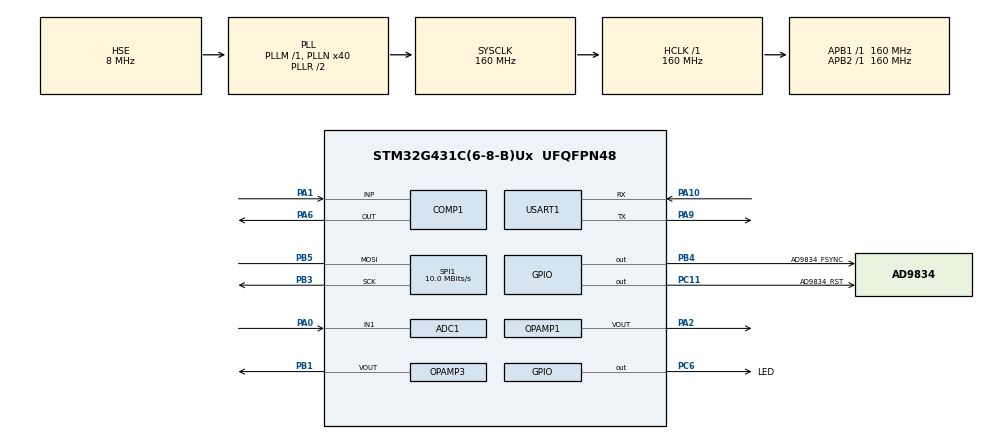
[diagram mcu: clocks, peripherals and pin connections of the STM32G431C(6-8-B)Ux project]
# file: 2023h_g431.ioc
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ADC1.Channel-0\#ChannelRegularConversion=ADC_CHANNEL_1
ADC1.ClockPrescaler=ADC_CLOCK_SYNC_PCLK_DIV4
ADC1.ContinuousConvMode=ENABLE
ADC1.DMAContinuousRequests=DISABLE
ADC1.DataAlign=ADC_DATAALIGN_LEFT
ADC1.ExternalTrigConv=ADC_EXTERNALTRIG_T3_TRGO
ADC1.NbrOfConversion=1
ADC1.NbrOfConversionFlag=1
ADC1.OffsetNumber-0\#ChannelRegularConversion=ADC_OFFSET_NONE
ADC1.OversamplingMode=DISABLE
ADC1.Rank-0\#ChannelRegularConversion=1
ADC1.SamplingTime-0\#ChannelRegularConversion=ADC_SAMPLETIME_6CYCLES_5
ADC1.master=1
COMP1.Hysteresis=COMP_HYSTERESIS_70MV
COMP1.TriggerMode=COMP_TRIGGERMODE_IT_RISING
DAC3.DAC_Channel-DAC_OUT2_Int=DAC_CHANNEL_2
DAC3.DAC_Trigger_OUT1-DAC_OUT1_Int=DAC_TRIGGER_T7_TRGO
DAC3.DAC_Trigger_OUT2-DAC_OUT2_Int=DAC_TRIGGER_T15_TRGO
Dma.ADC1.2.Direction=DMA_PERIPH_TO_MEMORY
Dma.ADC1.2.EventEnable=DISABLE
Dma.ADC1.2.Instance=DMA1_Channel3
Dma.ADC1.2.MemDataAlignment=DMA_MDATAALIGN_HALFWORD
Dma.ADC1.2.MemInc=DMA_MINC_ENABLE
Dma.ADC1.2.Mode=DMA_NORMAL
Dma.ADC1.2.PeriphDataAlignment=DMA_PDATAALIGN_HALFWORD
Dma.ADC1.2.PeriphInc=DMA_PINC_DISABLE
Dma.ADC1.2.Polarity=HAL_DMAMUX_REQ_GEN_RISING
Dma.ADC1.2.Priority=DMA_PRIORITY_HIGH
Dma.ADC1.2.RequestNumber=1
Dma.ADC1.2.SignalID=NONE
Dma.ADC1.2.SyncEnable=DISABLE
Dma.ADC1.2.SyncPolarity=HAL_DMAMUX_SYNC_NO_EVENT
Dma.ADC1.2.SyncRequestNumber=1
Dma.ADC1.2.SyncSignalID=NONE
Dma.DAC3_CH1.0.Direction=DMA_MEMORY_TO_PERIPH
Dma.DAC3_CH1.0.EventEnable=DISABLE
Dma.DAC3_CH1.0.Instance=DMA1_Channel1
Dma.DAC3_CH1.0.MemDataAlignment=DMA_MDATAALIGN_HALFWORD
Dma.DAC3_CH1.0.MemInc=DMA_MINC_ENABLE
Dma.DAC3_CH1.0.Mode=DMA_CIRCULAR
Dma.DAC3_CH1.0.PeriphDataAlignment=DMA_PDATAALIGN_WORD
Dma.DAC3_CH1.0.PeriphInc=DMA_PINC_DISABLE
Dma.DAC3_CH1.0.Polarity=HAL_DMAMUX_REQ_GEN_RISING
Dma.DAC3_CH1.0.Priority=DMA_PRIORITY_LOW
Dma.DAC3_CH1.0.RequestNumber=1
Dma.DAC3_CH1.0.SignalID=NONE
Dma.DAC3_CH1.0.SyncEnable=DISABLE
Dma.DAC3_CH1.0.SyncPolarity=HAL_DMAMUX_SYNC_NO_EVENT
Dma.DAC3_CH1.0.SyncRequestNumber=1
Dma.DAC3_CH1.0.SyncSignalID=NONE
Dma.DAC3_CH2.1.Direction=DMA_MEMORY_TO_PERIPH
Dma.DAC3_CH2.1.EventEnable=DISABLE
Dma.DAC3_CH2.1.Instance=DMA1_Channel2
Dma.DAC3_CH2.1.MemDataAlignment=DMA_MDATAALIGN_HALFWORD
Dma.DAC3_CH2.1.MemInc=DMA_MINC_ENABLE
Dma.DAC3_CH2.1.Mode=DMA_CIRCULAR
Dma.DAC3_CH2.1.PeriphDataAlignment=DMA_PDATAALIGN_WORD
Dma.DAC3_CH2.1.PeriphInc=DMA_PINC_DISABLE
Dma.DAC3_CH2.1.Polarity=HAL_DMAMUX_REQ_GEN_RISING
Dma.DAC3_CH2.1.Priority=DMA_PRIORITY_LOW
Dma.DAC3_CH2.1.RequestNumber=1
Dma.DAC3_CH2.1.SignalID=NONE
Dma.DAC3_CH2.1.SyncEnable=DISABLE
Dma.DAC3_CH2.1.SyncPolarity=HAL_DMAMUX_SYNC_NO_EVENT
Dma.DAC3_CH2.1.SyncRequestNumber=1
Dma.DAC3_CH2.1.SyncSignalID=NONE
Dma.Request0=DAC3_CH1
Dma.Request1=DAC3_CH2
Dma.Request2=ADC1
Mcu.Family=STM32G4
Mcu.Name=STM32G431C(6-8-B)Ux
Mcu.Package=UFQFPN48
NVIC.COMP1_2_3_IRQn=true\:0\:0\:false\:false\:true\:false\:true\:true
NVIC.DMA1_Channel1_IRQn=true\:0\:0\:false\:false\:true\:false\:true\:true
NVIC.DMA1_Channel2_IRQn=true\:0\:0\:false\:false\:true\:false\:true\:true
NVIC.DMA1_Channel3_IRQn=true\:0\:0\:false\:false\:true\:false\:true\:true
NVIC.PriorityGroup=NVIC_PRIORITYGROUP_4
NVIC.USART1_IRQn=true\:0\:0\:false\:false\:true\:false\:true\:true
OPAMP1.PowerMode=OPAMP_POWERMODE_HIGHSPEED
OPAMP3.PowerMode=OPAMP_POWERMODE_HIGHSPEED
PA0.Mode=IN1-Single-Ended
PA0.Signal=ADC1_IN1
PA1.Mode=INP
PA1.Signal=COMP1_INP
PA10.Mode=Asynchronous
PA10.Signal=USART1_RX
PA13.Mode=Serial_Wire
PA13.Signal=SYS_JTMS-SWDIO
PA14.Mode=Serial_Wire
PA14.Signal=SYS_JTCK-SWCLK
PA2.Mode=Follower-DAC_OUT2-INP
PA2.Signal=OPAMP1_VOUT
PA6.Mode=ExternalOutput
PA6.Signal=COMP1_OUT
PA9.Mode=Asynchronous
PA9.Signal=USART1_TX
PB1.Mode=Follower-DAC_OUT2-INP
PB1.Signal=OPAMP3_VOUT
PB3.Mode=Simplex_Bidirectional_Master
PB3.Signal=SPI1_SCK
PB4.GPIO_Label=AD9834_FSYNC
PB4.GPIO_Speed=GPIO_SPEED_FREQ_VERY_HIGH
PB4.Signal=GPIO_Output
PB5.Mode=Simplex_Bidirectional_Master
PB5.Signal=SPI1_MOSI
PC11.GPIO_Label=AD9834_RST
PC11.Signal=GPIO_Output
PC14-OSC32_IN.Mode=LSE-External-Oscillator
PC14-OSC32_IN.Signal=RCC_OSC32_IN
PC15-OSC32_OUT.Mode=LSE-External-Oscillator
PC15-OSC32_OUT.Signal=RCC_OSC32_OUT
PC6.GPIO_Label=LED
PC6.Signal=GPIO_Output
PF0-OSC_IN.Mode=HSE-External-Oscillator
PF0-OSC_IN.Signal=RCC_OSC_IN
PF1-OSC_OUT.Mode=HSE-External-Oscillator
PF1-OSC_OUT.Signal=RCC_OSC_OUT
ProjectManager.HeapSize=0x200
ProjectManager.StackSize=0x400
ProjectManager.TargetToolchain=CMake
RCC.ADC12CLockSelection=RCC_ADC12CLKSOURCE_PLL
RCC.ADC12Freq_Value=160000000
RCC.AHBFreq_Value=160000000
RCC.APB1Freq_Value=160000000
RCC.APB1TimFreq_Value=160000000
RCC.APB2Freq_Value=160000000
RCC.APB2TimFreq_Value=160000000
RCC.CortexFreq_Value=160000000
RCC.EXTERNAL_CLOCK_VALUE=12288000
RCC.HCLKFreq_Value=160000000
RCC.HSE_VALUE=8000000
RCC.HSI48_VALUE=48000000
RCC.HSI_VALUE=16000000
RCC.PLLN=40
RCC.PLLSourceVirtual=RCC_PLLSOURCE_HSE
RCC.SYSCLKFreq_VALUE=160000000
RCC.SYSCLKSource=RCC_SYSCLKSOURCE_PLLCLK
RCC.USBFreq_Value=160000000
RCC.VCOOutputFreq_Value=320000000
SPI1.BaudRatePrescaler=SPI_BAUDRATEPRESCALER_16
SPI1.CLKPolarity=SPI_POLARITY_HIGH
SPI1.CalculateBaudRate=10.0 MBits/s
SPI1.DataSize=SPI_DATASIZE_8BIT
SPI1.Direction=SPI_DIRECTION_1LINE
SPI1.Mode=SPI_MODE_MASTER
SPI1.VirtualType=VM_MASTER
STMicroelectronics.X-CUBE-ALGOBUILD.1.4.0.LibraryCcDSPOoLibraryJjDSPOoLibrary=true
TIM15.AutoReloadPreload=TIM_AUTORELOAD_PRELOAD_DISABLE
TIM15.PeriodNoDither=20-1
TIM15.Prescaler=0
TIM15.TIM_MasterOutputTrigger=TIM_TRGO_UPDATE
TIM3.AutoReloadPreload=TIM_AUTORELOAD_PRELOAD_ENABLE
TIM3.PeriodNoDither=19
TIM3.Prescaler=1
TIM3.TIM_MasterOutputTrigger=TIM_TRGO_UPDATE
TIM7.AutoReloadPreload=TIM_AUTORELOAD_PRELOAD_DISABLE
TIM7.PeriodNoDither=20-1
TIM7.Prescaler=0
TIM7.TIM_MasterOutputTrigger=TIM_TRGO_UPDATE
USART1.VirtualMode-Asynchronous=VM_ASYNC
VP_COMP1_VS_VREFINT.Mode=VREFINT
VP_CORDIC_VS_CORDIC.Mode=CORDIC_Activate
VP_DAC3_VS_DACI1.Mode=DAC_OUT1_Int
VP_DAC3_VS_DACI2.Mode=DAC_OUT2_Int
VP_STMicroelectronics.X-CUBE-ALGOBUILD_VS_DSPOoLibraryJjLibrary_1.4.0_1.4.0.Mode=DSPOoLibraryJjLibrary
VP_SYS_VS_DBSignals.Mode=DisableDeadBatterySignals
VP_TIM15_VS_ClockSourceINT.Mode=Internal
VP_TIM3_VS_ClockSourceINT.Mode=Internal
VP_TIM7_VS_ClockSourceINT.Mode=Enable_Timer
board=custom

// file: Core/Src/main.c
/* USER CODE BEGIN Header */
/**
 ******************************************************************************
 * @file           : main.c
 * @brief          : Main program body
 ******************************************************************************
 * @attention
 *
 * Copyright (c) 2025 STMicroelectronics.
 * All rights reserved.
 *
 * This software is licensed under terms that can be found in the LICENSE file
 * in the root directory of this software component.
 * If no LICENSE file comes with this software, it is provided AS-IS.
 *
 ******************************************************************************
 */
/* USER CODE END Header */
#include "main.h"
#include "adc.h"
#include "comp.h"
#include "cordic.h"
#include "dac.h"
#include "dma.h"
#include "gpio.h"
#include "opamp.h"
#include "spi.h"
#include "tim.h"
#include "usart.h"

/* USER CODE BEGIN Includes */
#include "ad983x.h"
#include "arm_math.h"
#include "dds_stm32.h"
#include "wave.h"
#include <stdint.h>
#include <stdio.h>
#include <stdlib.h>
#include <string.h>
/* USER CODE END Includes */

/* USER CODE BEGIN PD */
#define __FPU_PRESENT 1U
/* USER CODE END PD */

void SystemClock_Config(void);
/* USER CODE BEGIN PFP */
void SET_DAC_TIM_FREQ(TIM_HandleTypeDef *htim, uint16_t wavelen,
                      uint32_t freqk);
void ADD_DAC_TIM_PHASE(TIM_HandleTypeDef *htim, double phase);
void hamming_window(q15_t *pWindow);
uint16_t *generate_sine_wave_table(uint32_t table_size, uint16_t amplitudey);
uint16_t *generate_cosine_wave_table(uint32_t table_size, uint16_t amplitudey);
/* USER CODE END PFP */

/* USER CODE BEGIN 0 */
#define SAMPLE_LENGTH 1024
#define FFT_LENGTH 1024
// #define TABLE_SIZE 256 // 波表长度
#define OF 2147.483648 // 2^32 / 2M，用于频率控制字计算
#define PHASE_MAX ((1UL << PHASE_BITS) - 1)
#define PHASE_STEP(freq)                                                       \
  ((uint32_t)((((double)(freq)) * (double)(1ULL << PHASE_BITS)) / SYS_CLK_FREQ))
#define PHASE_BITS 32          // 相位累加器位宽
#define OUTPUT_FREQ 10000      // 默认输出频率(Hz)
#define SYS_CLK_FREQ 2000000UL // DAC采样频率(由TIM6决定)

#define Q15_SBIT 0x8000
#define Q15_MBITS 0x7FFF
#define Q15_MULT 0x8000
#define Q15_PMAX 0x7FFF
#define Q15_NMAX 0x8000

uint16_t adc_value[SAMPLE_LENGTH] = {0};
q15_t fft_in[FFT_LENGTH] = {0};
q15_t fft_out[FFT_LENGTH * 2] = {0};
q15_t cmplx_mag_out[FFT_LENGTH * 2] = {0};
// q15_t cmplx_ang_out[FFT_LENGTH * 2] = {0};
uint8_t adc_conv_finished = 0;
uint8_t fft_finished = 0;
uint8_t cal_phase_err_finished = 1;
uint8_t start_adc = 0;
uint16_t max_freq = 100;
uint16_t sec_freq = 100;

// DDS *stm32_dds;
uint16_t *sintable = NULL;
uint16_t *costable = NULL;

// AD983X ad9834;
uint8_t comp_flag = 0;
double phase_err = 0;
/* USER CODE END 0 */

int main(void) {

  /* MCU Configuration--------------------------------------------------------*/

  /* Reset of all peripherals, Initializes the Flash interface and the Systick.
   */
  HAL_Init();

  /* Configure the system clock */
  SystemClock_Config();

  /* Initialize all configured peripherals */
  MX_GPIO_Init();
  MX_DMA_Init();
  MX_DAC3_Init();
  MX_OPAMP1_Init();
  MX_OPAMP3_Init();
  MX_TIM15_Init();
  MX_ADC1_Init();
  MX_USART1_UART_Init();
  MX_TIM3_Init();
  MX_CORDIC_Init();
  MX_TIM7_Init();
  MX_COMP1_Init();
  MX_SPI1_Init();
  /* USER CODE BEGIN 2 */
  uint8_t str[] = "\r\n-------------USART_Sending------------------\r\n";
  HAL_UART_Transmit(&huart1, str, sizeof(str) / sizeof(str[0]), 40);

  // 初始化 stm32 dds 设置
  // stm32_dds = dds_init(dactable, TABLE_SIZE, 10000, 2000000);
  // // 设置初始频率
  // stm32_dds->phase_inc = PHASE_STEP(OUTPUT_FREQ);
  // // 填充初始DMA缓冲
  // DDS_UpdateBuffer(dactable, stm32_dds, 0, TABLE_SIZE);
  // HAL_TIM_Base_Start(&htim4);

  HAL_OPAMP_Start(&hopamp1);
  HAL_OPAMP_Start(&hopamp3);

  // AD983X_init(&ad9834, &hspi1, AD9834_FSYNC_GPIO_Port, AD9834_FSYNC_Pin,
  //             AD9834_RST_GPIO_Port, AD9834_RST_Pin, (uint8_t)75);
  // AD983X_setFrequency(&ad9834, 0, 100000.0);

  // AD983X_setSleep(&ad9834, SLEEP_MODE_NONE);
  // AD983X_setOutputMode(&ad9834, OUTPUT_MODE_TRIANGLE);
  // AD983X_setSignOutput(&ad9834, SIGN_OUTPUT_MSB);
  /* USER CODE END 2 */

  /* Infinite loop */
  /* USER CODE BEGIN WHILE */
  arm_rfft_instance_q15 forwardS;
  // arm_rfft_instance_q15 backwardS;
  arm_rfft_init_q15(&forwardS, FFT_LENGTH, 0, 1);
  // arm_rfft_init_q15(&backwardS, FFT_LENGTH, 1, 0);
  // arm_rfft_init_1024_q15(&S, 0, 0);

  // 从 0 相位开始采集
  HAL_TIM_Base_Start(&htim3);
  HAL_ADC_Start_DMA(&hadc1, (uint32_t *)adc_value, SAMPLE_LENGTH);
  // HAL_COMP_Start(&hcomp1);
  // while (!comp_flag)
  //   ;
  // uint16_t adc_single_value = 65534;
  // HAL_ADC_Start(&hadc1);
  // do {
  //   HAL_ADC_PollForConversion(&hadc1, 100);
  //   // 判断ADC是否转换成功
  //   if (HAL_IS_BIT_SET(HAL_ADC_GetState(&hadc1), HAL_ADC_STATE_REG_EOC)) {
  //     // 读取值
  //     adc_single_value = HAL_ADC_GetValue(&hadc1);
  //   }
  // } while (adc_single_value > 2058 || adc_single_value < 2038);
  // HAL_ADC_Stop(&hadc1);

  while (1) {
    if (!fft_finished && adc_conv_finished) {
      HAL_GPIO_WritePin(LED_GPIO_Port, LED_Pin, GPIO_PIN_SET);
      for (int i = 0; i < SAMPLE_LENGTH; i++) {
        uint8_t adc_fmt_tmp_str[20] = {0};
        sprintf((char *)adc_fmt_tmp_str, "adc: %d\n", adc_value[i]);
        HAL_UART_Transmit(&huart1, adc_fmt_tmp_str,
                          strlen((char *)adc_fmt_tmp_str), 40);
      }
      // memcpy(fft_in, adc_value, FFT_LENGTH);
      for (size_t i = 0; i < FFT_LENGTH; ++i) {
        fft_in[i] = (int16_t)((int32_t)adc_value[i] - 32768);
      }

      q15_t h_window[FFT_LENGTH] = {0};
      hamming_window(h_window);
      arm_mult_q15(fft_in, h_window, fft_in, FFT_LENGTH);
      arm_rfft_q15(&forwardS, fft_in, fft_out);
      arm_cmplx_mag_q15(fft_out, cmplx_mag_out, FFT_LENGTH / 2 + 1);

      uint8_t fft_banner_str[] =
          "\r\n-------------FFT_Result_Sending------------------\r\n";
      HAL_UART_Transmit(&huart1, fft_banner_str, strlen((char *)fft_banner_str),
                        40);
      for (int i = 0; i < FFT_LENGTH / 16; i++) {
        uint8_t fft_fmt_tmp_str[50] = {0};
        sprintf((char *)fft_fmt_tmp_str, "fft(%dk) : %d\n", i * 2,
                cmplx_mag_out[i] * 10);
        HAL_UART_Transmit(&huart1, fft_fmt_tmp_str,
                          strlen((char *)fft_fmt_tmp_str), 40);
      }

      // 去除直流分量
      cmplx_mag_out[0] = 0;
      cmplx_mag_out[1] = 0;
      cmplx_mag_out[2] = 0;
      cmplx_mag_out[3] = 0;
      cmplx_mag_out[4] = 0;

      // 查找频谱的第一个峰值
      q15_t max_result = 0;
      uint32_t max_index = 0;
      arm_max_q15(cmplx_mag_out, FFT_LENGTH / 2 + 1, &max_result, &max_index);
      cmplx_mag_out[max_index] = 0;

      // 查找频谱的第二个峰值
      q15_t max_second_result = 0;
      uint32_t max_second_index = 0;
      arm_max_q15(cmplx_mag_out, FFT_LENGTH / 2 + 1, &max_second_result,
                  &max_second_index);

      max_freq = (max_index + 1) * 2;
      sec_freq = (max_second_index + 1) * 2;
      // 将频率近似到5k的整数倍
      max_freq = ((max_freq + 2) / 5) * 5;
      sec_freq = ((sec_freq + 2) / 5) * 5;
      uint8_t cmp_str_buf[50] = {0};
      sprintf((char *)cmp_str_buf, "max: %uk, sec: %uk\r\n", max_freq,
              sec_freq);
      HAL_UART_Transmit(&huart1, cmp_str_buf, strlen((char *)cmp_str_buf), 40);

      // AD983X_setFrequency(&ad9834, 0, max_freq * 1000);
      // SET_DAC_TIM_FREQ(&htim7, max_freq);
      // SET_DAC_TIM_FREQ(&htim15, sec_freq);
      sintable = generate_sine_wave_table(100, 2048);
      costable = generate_cosine_wave_table(100, 2048);

      SET_DAC_TIM_FREQ(&htim7, 100, max_freq * 1000);
      SET_DAC_TIM_FREQ(&htim15, 100, sec_freq * 1000);
      HAL_TIM_Base_Start(&htim7);
      HAL_TIM_Base_Start(&htim15);
      // uint8_t dactable_str_buf[50] = {0};
      // for (uint16_t i = 0; i < 100; i++) {
      //   sprintf((char *)dactable_str_buf, "dactable[%d]: %d\n", i,
      //   sintable[i]); HAL_UART_Transmit(&huart1, dactable_str_buf,
      //                     strlen((char *)dactable_str_buf), 40);
      // }
      HAL_DAC_Start_DMA(&hdac3, DAC_CHANNEL_1, (uint32_t *)sintable, 100,
                        DAC_ALIGN_12B_R);
      HAL_DAC_Start_DMA(&hdac3, DAC_CHANNEL_2, (uint32_t *)sintable, 100,
                        DAC_ALIGN_12B_R);

      HAL_GPIO_WritePin(LED_GPIO_Port, LED_Pin, GPIO_PIN_RESET);
      HAL_ADC_Start_DMA(&hadc1, (uint32_t *)adc_value, SAMPLE_LENGTH);

      adc_conv_finished = 0;
      fft_finished = 1;
    }
    if (fft_finished && !cal_phase_err_finished) {
      start_adc = 0;
      while (!start_adc)
        ;
      HAL_ADC_Start_DMA(&hadc1, (uint32_t *)adc_value, 100);
      adc_conv_finished = 0;
      while (!adc_conv_finished)
        ;

      uint16_t index0 = 0;
      // 计算与参考波形的相关性
      float sum_sin = 0;
      float sum_cos = 0;
      for (uint8_t i = 0; i < 100; i++) {
        // 转换为有符号值并计算相关性
        int16_t adc_val = ((adc_value[index0 + i] >> 4) - 2048);
        int16_t sin_val = (sintable[i] - 2048);
        int16_t cos_val = (costable[i] - 2048);

        sum_sin += adc_val * sin_val;
        sum_cos += adc_val * cos_val;
      }

      // 计算相位误差
      phase_err = atan2f(sum_sin, sum_cos);

      if (phase_err < 0) {
        phase_err = -phase_err;
      } else {
        phase_err = 2 * PI - phase_err;
      }

      // 立即应用相位调整
      ADD_DAC_TIM_PHASE(&htim7, phase_err);

      cal_phase_err_finished = 1;
    }
    // HAL_ADC_Start_DMA(&hadc1, (uint32_t *)adc_value, SAMPLE_TIMES);
    /* USER CODE END WHILE */

    /* USER CODE BEGIN 3 */
  }
  // dds_free(stm32_dds);
  free(sintable);
  free(costable);
  /* USER CODE END 3 */
}

void SystemClock_Config(void) {
  RCC_OscInitTypeDef RCC_OscInitStruct = {0};
  RCC_ClkInitTypeDef RCC_ClkInitStruct = {0};

  /** Configure the main internal regulator output voltage
   */
  HAL_PWREx_ControlVoltageScaling(PWR_REGULATOR_VOLTAGE_SCALE1_BOOST);

  /** Initializes the RCC Oscillators according to the specified parameters
   * in the RCC_OscInitTypeDef structure.
   */
  RCC_OscInitStruct.OscillatorType = RCC_OSCILLATORTYPE_HSE;
  RCC_OscInitStruct.HSEState = RCC_HSE_ON;
  RCC_OscInitStruct.PLL.PLLState = RCC_PLL_ON;
  RCC_OscInitStruct.PLL.PLLSource = RCC_PLLSOURCE_HSE;
  RCC_OscInitStruct.PLL.PLLM = RCC_PLLM_DIV1;
  RCC_OscInitStruct.PLL.PLLN = 40;
  RCC_OscInitStruct.PLL.PLLP = RCC_PLLP_DIV2;
  RCC_OscInitStruct.PLL.PLLQ = RCC_PLLQ_DIV2;
  RCC_OscInitStruct.PLL.PLLR = RCC_PLLR_DIV2;
  if (HAL_RCC_OscConfig(&RCC_OscInitStruct) != HAL_OK) {
    Error_Handler();
  }

  /** Initializes the CPU, AHB and APB buses clocks
   */
  RCC_ClkInitStruct.ClockType = RCC_CLOCKTYPE_HCLK | RCC_CLOCKTYPE_SYSCLK |
                                RCC_CLOCKTYPE_PCLK1 | RCC_CLOCKTYPE_PCLK2;
  RCC_ClkInitStruct.SYSCLKSource = RCC_SYSCLKSOURCE_PLLCLK;
  RCC_ClkInitStruct.AHBCLKDivider = RCC_SYSCLK_DIV1;
  RCC_ClkInitStruct.APB1CLKDivider = RCC_HCLK_DIV1;
  RCC_ClkInitStruct.APB2CLKDivider = RCC_HCLK_DIV1;

  if (HAL_RCC_ClockConfig(&RCC_ClkInitStruct, FLASH_LATENCY_4) != HAL_OK) {
    Error_Handler();
  }
}

/* USER CODE BEGIN 4 */
void HAL_ADC_ConvCpltCallback(ADC_HandleTypeDef *hadc) {
  if (hadc == &hadc1) {
    adc_conv_finished = 1;
  }
}

void HAL_DAC_ConvCpltCallbackCh1(DAC_HandleTypeDef *hdac) {
  if (hdac == &hdac3) {
    cal_phase_err_finished = 0;
    start_adc = 1;
  }
}

void HAL_COMP_TriggerCallback(COMP_HandleTypeDef *hcomp) {
  if (hcomp == &hcomp1) {
    comp_flag = 1;
  }
}

q15_t float2q15(float f) {
  if (f >= 1.0)
    return Q15_PMAX;
  if (f <= -1.0)
    return Q15_NMAX;

  if (f < 0) {
    return -(Q15_MBITS & (int16_t)(-f * Q15_MULT));
  } else {
    return Q15_MBITS & (int16_t)(f * Q15_MULT);
  }
}

void hamming_window(q15_t *pWindow) {
  float alpha = 25.0 / 46;
  float factor = 2.0 * PI / FFT_LENGTH;
  for (int i = 0; i < FFT_LENGTH; i++) {
    float f = alpha - (1.0 - alpha) * arm_cos_f32(factor * i);
    pWindow[i] = float2q15(f);
  }
}

void SET_DAC_TIM_FREQ(TIM_HandleTypeDef *htim, uint16_t wavelen,
                      uint32_t freqk) {
  uint32_t arr = 160000000 / (wavelen * freqk) - 1;
  __HAL_TIM_SET_AUTORELOAD(htim, arr);
}

void ADD_DAC_TIM_PHASE(TIM_HandleTypeDef *htim, double phase) {
  uint16_t period = __HAL_TIM_GET_AUTORELOAD(htim) + 1;
  uint16_t phase_cnt = 100 * phase * period / (2 * PI);
  uint32_t cnt = __HAL_TIM_GET_COUNTER(htim) + 65535 - phase_cnt;
  __HAL_TIM_SetCounter(htim, cnt);
}

uint16_t *generate_sine_wave_table(uint32_t table_size, uint16_t amplitude) {
  // 分配波表内存
  uint16_t *wave_table = (uint16_t *)malloc(table_size * sizeof(uint16_t));
  if (wave_table == NULL) {
    return NULL; // 内存分配失败
  }

  // 计算角频率
  float omega = 2.0f * M_PI / table_size;

  // 填充波表
  for (uint32_t i = 0; i < table_size; i++) {
    float value = amplitude * (sin(omega * i) + 1.0f) / 2.0f;
    // 将值映射到 [100, amplitude]
    wave_table[i] = (uint16_t)value;
  }

  return wave_table;
}

uint16_t *generate_cosine_wave_table(uint32_t table_size, uint16_t amplitude) {
  // 分配波表内存
  uint16_t *wave_table = (uint16_t *)malloc(table_size * sizeof(uint16_t));
  if (wave_table == NULL) {
    return NULL; // 内存分配失败
  }

  // 计算角频率
  float omega = 2.0f * M_PI / table_size;

  // 填充波表
  for (uint32_t i = 0; i < table_size; i++) {
    float value = amplitude * (cos(omega * i) + 1.0f) / 2.0f;
    // 将值映射到 [100, amplitude]
    wave_table[i] = (uint16_t)value;
  }

  return wave_table;
}
/* USER CODE END 4 */

void Error_Handler(void) {
  /* USER CODE BEGIN Error_Handler_Debug */
  /* User can add his own implementation to report the HAL error return state
   */
  __disable_irq();
  while (1) {
  }
  /* USER CODE END Error_Handler_Debug */
}

#ifdef USE_FULL_ASSERT
/**
 * @brief  Reports the name of the source file and the source line number
 *         where the assert_param error has occurred.
 * @param  file: pointer to the source file name
 * @param  line: assert_param error line source number
 * @retval None
 */
void assert_failed(uint8_t *file, uint32_t line) {
  /* USER CODE BEGIN 6 */
  /* User can add his own implementation to report the file name and line
     number, ex: printf("Wrong parameters value: file %s on line %d\r\n",
     file, line) */
  /* USER CODE END 6 */
}
#endif /* USE_FULL_ASSERT */
